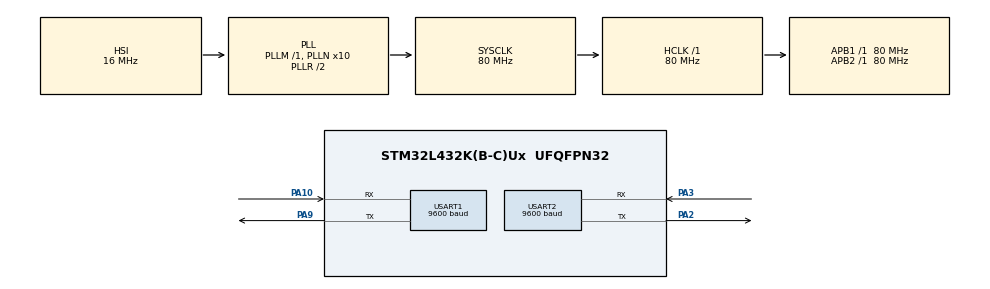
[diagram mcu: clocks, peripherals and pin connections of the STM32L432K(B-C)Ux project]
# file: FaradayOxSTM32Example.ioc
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Mcu.Family=STM32L4
Mcu.Name=STM32L432K(B-C)Ux
Mcu.Package=UFQFPN32
NVIC.PriorityGroup=NVIC_PRIORITYGROUP_4
PA10.Mode=Asynchronous
PA10.Signal=USART1_RX
PA13\ (JTMS-SWDIO).Mode=Serial_Wire
PA13\ (JTMS-SWDIO).Signal=SYS_JTMS-SWDIO
PA14\ (JTCK-SWCLK).Mode=Serial_Wire
PA14\ (JTCK-SWCLK).Signal=SYS_JTCK-SWCLK
PA2.Mode=Asynchronous
PA2.Signal=USART2_TX
PA3.Mode=Asynchronous
PA3.Signal=USART2_RX
PA9.Mode=Asynchronous
PA9.Signal=USART1_TX
ProjectManager.HeapSize=0x200
ProjectManager.StackSize=0x400
ProjectManager.TargetToolchain=STM32CubeIDE
RCC.ADCFreq_Value=64000000
RCC.AHBFreq_Value=80000000
RCC.APB1Freq_Value=80000000
RCC.APB1TimFreq_Value=80000000
RCC.APB2Freq_Value=80000000
RCC.APB2TimFreq_Value=80000000
RCC.CortexFreq_Value=80000000
RCC.HCLKFreq_Value=80000000
RCC.HSE_VALUE=8000000
RCC.HSI48_VALUE=48000000
RCC.HSI_VALUE=16000000
RCC.LSE_VALUE=32768
RCC.MSI_VALUE=4000000
RCC.PLLN=10
RCC.PLLSourceVirtual=RCC_PLLSOURCE_HSI
RCC.SYSCLKFreq_VALUE=80000000
RCC.SYSCLKSource=RCC_SYSCLKSOURCE_PLLCLK
RCC.USBFreq_Value=64000000
RCC.VCOOutputFreq_Value=160000000
USART1.BaudRate=9600
USART1.VirtualMode-Asynchronous=VM_ASYNC
USART2.BaudRate=9600
USART2.VirtualMode-Asynchronous=VM_ASYNC
board=custom

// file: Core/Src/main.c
/* USER CODE BEGIN Header */
/**
 ******************************************************************************
 * @file           : main.c
 * @brief          : Main program body
 ******************************************************************************
 * @attention
 *
 * Copyright (c) 2025 STMicroelectronics.
 * All rights reserved.
 *
 * This software is licensed under terms that can be found in the LICENSE file
 * in the root directory of this software component.
 * If no LICENSE file comes with this software, it is provided AS-IS.
 *
 ******************************************************************************
 */
/* USER CODE END Header */
#include "main.h"

/* USER CODE BEGIN Includes */
#include "registers.h"
#include "version.h"
#include <stdio.h>
#include <string.h>
/* USER CODE END Includes */

/* USER CODE BEGIN PD */
// Leave at least 60 sec between sensor measurements
#define SENSOR_MEASUREMENT_DELAY_MS 60000
#define USER_UART_BUFFER_SIZE 128
/* USER CODE END PD */

UART_HandleTypeDef huart1;
UART_HandleTypeDef huart2;

/* USER CODE BEGIN PV */
static uint8_t rx_buffer[REGISTER_MAP_SIZE + 1]; // To fit in the whole register map + '\n'

/* USER CODE END PV */

void SystemClock_Config(void);
static void MX_GPIO_Init(void);
static void MX_USART1_UART_Init(void);
static void MX_USART2_UART_Init(void);
/* USER CODE BEGIN PFP */
static void sensor_get_metadata(void);
static void sensor_measurement(void);
/* USER CODE END PFP */

int main(void)
{

	/* MCU Configuration--------------------------------------------------------*/

	/* Reset of all peripherals, Initializes the Flash interface and the Systick. */
	HAL_Init();

	/* Configure the system clock */
	SystemClock_Config();

	/* Initialize all configured peripherals */
	MX_GPIO_Init();
	MX_USART1_UART_Init();
	MX_USART2_UART_Init();
	/* USER CODE BEGIN 2 */
	printf("Faraday-Ox Example v%u.%u\r\n", APP_VER_MAJOR, APP_VER_MINOR);
	sensor_get_metadata();
	sensor_measurement();
	/* USER CODE END 2 */

	/* Infinite loop */
	while (1)
	{

	}
}

void SystemClock_Config(void)
{
	RCC_OscInitTypeDef RCC_OscInitStruct = { 0 };
	RCC_ClkInitTypeDef RCC_ClkInitStruct = { 0 };

	/** Configure the main internal regulator output voltage
	 */
	if (HAL_PWREx_ControlVoltageScaling(PWR_REGULATOR_VOLTAGE_SCALE1) != HAL_OK)
	{
		Error_Handler();
	}

	/** Initializes the RCC Oscillators according to the specified parameters
	 * in the RCC_OscInitTypeDef structure.
	 */
	RCC_OscInitStruct.OscillatorType = RCC_OSCILLATORTYPE_HSI;
	RCC_OscInitStruct.HSIState = RCC_HSI_ON;
	RCC_OscInitStruct.HSICalibrationValue = RCC_HSICALIBRATION_DEFAULT;
	RCC_OscInitStruct.PLL.PLLState = RCC_PLL_ON;
	RCC_OscInitStruct.PLL.PLLSource = RCC_PLLSOURCE_HSI;
	RCC_OscInitStruct.PLL.PLLM = 1;
	RCC_OscInitStruct.PLL.PLLN = 10;
	RCC_OscInitStruct.PLL.PLLP = RCC_PLLP_DIV7;
	RCC_OscInitStruct.PLL.PLLQ = RCC_PLLQ_DIV2;
	RCC_OscInitStruct.PLL.PLLR = RCC_PLLR_DIV2;
	if (HAL_RCC_OscConfig(&RCC_OscInitStruct) != HAL_OK)
	{
		Error_Handler();
	}

	/** Initializes the CPU, AHB and APB buses clocks
	 */
	RCC_ClkInitStruct.ClockType = RCC_CLOCKTYPE_HCLK | RCC_CLOCKTYPE_SYSCLK
			| RCC_CLOCKTYPE_PCLK1 | RCC_CLOCKTYPE_PCLK2;
	RCC_ClkInitStruct.SYSCLKSource = RCC_SYSCLKSOURCE_PLLCLK;
	RCC_ClkInitStruct.AHBCLKDivider = RCC_SYSCLK_DIV1;
	RCC_ClkInitStruct.APB1CLKDivider = RCC_HCLK_DIV1;
	RCC_ClkInitStruct.APB2CLKDivider = RCC_HCLK_DIV1;

	if (HAL_RCC_ClockConfig(&RCC_ClkInitStruct, FLASH_LATENCY_4) != HAL_OK)
	{
		Error_Handler();
	}
}

static void MX_USART1_UART_Init(void)
{

	huart1.Instance = USART1;
	huart1.Init.BaudRate = 9600;
	huart1.Init.WordLength = UART_WORDLENGTH_8B;
	huart1.Init.StopBits = UART_STOPBITS_1;
	huart1.Init.Parity = UART_PARITY_NONE;
	huart1.Init.Mode = UART_MODE_TX_RX;
	huart1.Init.HwFlowCtl = UART_HWCONTROL_NONE;
	huart1.Init.OverSampling = UART_OVERSAMPLING_16;
	huart1.Init.OneBitSampling = UART_ONE_BIT_SAMPLE_DISABLE;
	huart1.AdvancedInit.AdvFeatureInit = UART_ADVFEATURE_NO_INIT;
	if (HAL_UART_Init(&huart1) != HAL_OK)
	{
		Error_Handler();
	}

}

static void MX_USART2_UART_Init(void)
{

	huart2.Instance = USART2;
	huart2.Init.BaudRate = 9600;
	huart2.Init.WordLength = UART_WORDLENGTH_8B;
	huart2.Init.StopBits = UART_STOPBITS_1;
	huart2.Init.Parity = UART_PARITY_NONE;
	huart2.Init.Mode = UART_MODE_TX_RX;
	huart2.Init.HwFlowCtl = UART_HWCONTROL_NONE;
	huart2.Init.OverSampling = UART_OVERSAMPLING_16;
	huart2.Init.OneBitSampling = UART_ONE_BIT_SAMPLE_DISABLE;
	huart2.AdvancedInit.AdvFeatureInit = UART_ADVFEATURE_NO_INIT;
	if (HAL_UART_Init(&huart2) != HAL_OK)
	{
		Error_Handler();
	}

}

static void MX_GPIO_Init(void)
{

	/* GPIO Ports Clock Enable */
	__HAL_RCC_GPIOA_CLK_ENABLE();

}

/* USER CODE BEGIN 4 */
int __io_putchar(int ch)
{
	HAL_UART_Transmit(&huart2, (uint8_t*) &ch, 1, 100);
	return ch;
}

int _write(int file, char *ptr, int len)
{
	(void) file;
	for (int i = 0; i < len; i++)
	{
		__io_putchar(*ptr++);
	}
	return len;
}

static void sensor_get_metadata(void)
{
	uint8_t cmd[CMD_SIZE] = { 0 };

	// 1. Read the whole Register Map
	// Command size if 4 bytes.
	// Read 0x60 bytes starting from address 0x00

	cmd[0] = CMD_READ;
	cmd[1] = 0x00;
	cmd[2] = REGISTER_MAP_SIZE;
	cmd[3] = CMD_NEWLINE;

	HAL_UART_Transmit(&huart1, cmd, CMD_SIZE, 100);
	HAL_UART_Receive(&huart1, rx_buffer, REGISTER_MAP_SIZE + 1, 1000);

	// 2. Get Register Map Version
	uint8_t reg_map_ver_minor = rx_buffer[REG_MAP_VER_LSB];
	uint8_t reg_map_ver_major = rx_buffer[REG_MAP_VER_MSB];

	// 3. Get Module ID
	uint32_t module_id = *(uint32_t *)&rx_buffer[REG_FRONTEND_ID_LLSB];

	printf("Module ID: %lu, Register Ver: %u.%u\r\n", module_id,
			reg_map_ver_major, reg_map_ver_minor);

	return;
}

static void sensor_measurement(void)
{
	// 1. Start the measurement
	uint8_t cmd[4] = { 0 };
	cmd[0] = CMD_WRITE;
	cmd[1] = REG_CONTROL;
	cmd[2] = REG_CONTROL_START_MEASUREMENT;
	cmd[3] = CMD_NEWLINE;

	HAL_UART_Transmit(&huart1, cmd, CMD_SIZE, 100); // Initiate measurement
	HAL_StatusTypeDef status = HAL_UART_Receive(&huart1, rx_buffer,
			CMD_WRITE_ACK_SIZE, 100); // Get ACK
	if (status != HAL_OK)
	{
		return;
	}

	HAL_Delay(500); // Wait 500ms for the measurement to finish

	memset(rx_buffer, 0, REGISTER_MAP_SIZE + 1);
	cmd[0] = CMD_READ;
	cmd[1] = 0x00;
	cmd[2] = REGISTER_MAP_SIZE;
	cmd[3] = CMD_NEWLINE;

	HAL_UART_Transmit(&huart1, cmd, CMD_SIZE, 100);
	HAL_UART_Receive(&huart1, rx_buffer, REGISTER_MAP_SIZE + 1, 1000);

	// 2. Check that Status register indicates that measurement was finished successfully
	if (rx_buffer[REG_STATUS] & REG_STATUS_MEASUREMENT_IN_PROGRESS)
	{
		printf("Measurement is still in progress\r\n");
		return;
	}

	if ((rx_buffer[REG_STATUS] & REG_STATUS_MEASUREMENT_FINISHED)
			&& (rx_buffer[REG_STATUS] & REG_STATUS_MEASUREMENT_ERROR))
	{
		printf("Sensor error\r\n");
		return;
	}

	if ((rx_buffer[REG_STATUS] & REG_STATUS_MEASUREMENT_FINISHED)
			&& (rx_buffer[REG_STATUS] & REG_STATUS_SHT4X_ERROR))
	{
		printf("SHT4x sensor error\r\n");
		return;
	}

	if (rx_buffer[REG_STATUS] == REG_STATUS_MEASUREMENT_FINISHED)
	{
		float concentration = *(float *)&rx_buffer[REG_CONCENTRATION];
		float temperature = *(float *)&rx_buffer[REG_TEMPERATURE];
		float humidity = *(float *)&rx_buffer[REG_HUMIDITY];

		printf("Concentration: %f, Temperature: %f, Humidity: %f\r\n",
				concentration, temperature, humidity);
	}
}

/* USER CODE END 4 */

void Error_Handler(void)
{
	__disable_irq();
	while (1)
	{
	}
}
